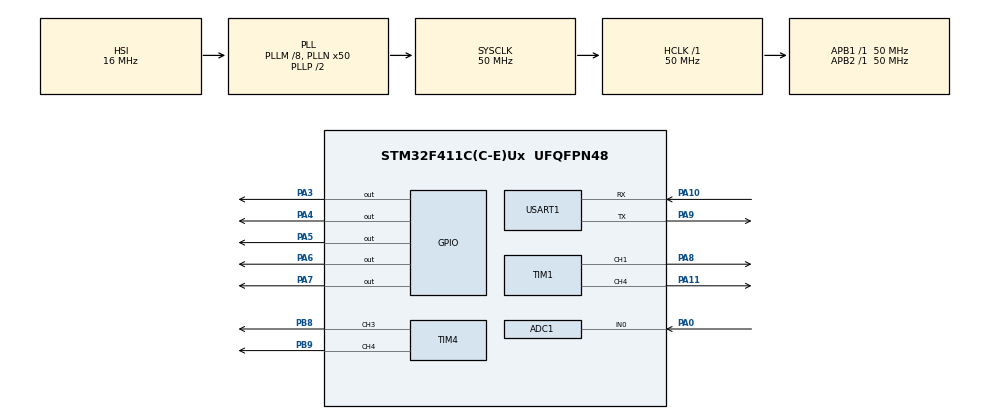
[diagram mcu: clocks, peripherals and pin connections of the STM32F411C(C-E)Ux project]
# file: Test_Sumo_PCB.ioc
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ADC1.Channel-0\#ChannelRegularConversion=ADC_CHANNEL_0
ADC1.NbrOfConversionFlag=1
ADC1.Rank-0\#ChannelRegularConversion=1
ADC1.SamplingTime-0\#ChannelRegularConversion=ADC_SAMPLETIME_3CYCLES
ADC1.master=1
Mcu.Family=STM32F4
Mcu.Name=STM32F411C(C-E)Ux
Mcu.Package=UFQFPN48
NVIC.PriorityGroup=NVIC_PRIORITYGROUP_4
PA0-WKUP.Signal=ADCx_IN0
PA10.Mode=Asynchronous
PA10.Signal=USART1_RX
PA11.Signal=S_TIM1_CH4
PA3.Signal=GPIO_Output
PA4.Signal=GPIO_Output
PA5.Signal=GPIO_Output
PA6.Signal=GPIO_Output
PA7.Signal=GPIO_Output
PA8.Signal=S_TIM1_CH1
PA9.Mode=Asynchronous
PA9.Signal=USART1_TX
PB8.Signal=S_TIM4_CH3
PB9.Signal=S_TIM4_CH4
ProjectManager.HeapSize=0x200
ProjectManager.StackSize=0x400
ProjectManager.TargetToolchain=STM32CubeIDE
RCC.48MHZClocksFreq_Value=25000000
RCC.AHBFreq_Value=50000000
RCC.APB1Freq_Value=50000000
RCC.APB1TimFreq_Value=50000000
RCC.APB2Freq_Value=50000000
RCC.APB2TimFreq_Value=50000000
RCC.CortexFreq_Value=50000000
RCC.HCLKFreq_Value=50000000
RCC.HSE_VALUE=25000000
RCC.HSI_VALUE=16000000
RCC.LSE_VALUE=32768
RCC.PLLM=8
RCC.PLLN=50
RCC.SYSCLKFreq_VALUE=50000000
RCC.SYSCLKSource=RCC_SYSCLKSOURCE_PLLCLK
RCC.VCOOutputFreq_Value=100000000
SH.ADCx_IN0.0=ADC1_IN0,IN0
SH.S_TIM1_CH1.0=TIM1_CH1,PWM Generation1 CH1
SH.S_TIM1_CH4.0=TIM1_CH4,PWM Generation4 CH4
SH.S_TIM4_CH3.0=TIM4_CH3,PWM Generation3 CH3
SH.S_TIM4_CH4.0=TIM4_CH4,PWM Generation4 CH4
TIM1.Channel-PWM\ Generation1\ CH1=TIM_CHANNEL_1
TIM1.Channel-PWM\ Generation4\ CH4=TIM_CHANNEL_4
TIM4.Channel-PWM\ Generation3\ CH3=TIM_CHANNEL_3
TIM4.Channel-PWM\ Generation4\ CH4=TIM_CHANNEL_4
USART1.VirtualMode=VM_ASYNC
board=custom

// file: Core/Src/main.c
/* USER CODE BEGIN Header */
/**
  ******************************************************************************
  * @file           : main.c
  * @brief          : Main program body
  ******************************************************************************
  * @attention
  *
  * Copyright (c) 2022 STMicroelectronics.
  * All rights reserved.
  *
  * This software is licensed under terms that can be found in the LICENSE file
  * in the root directory of this software component.
  * If no LICENSE file comes with this software, it is provided AS-IS.
  *
  ******************************************************************************
  */
/* USER CODE END Header */
#include "main.h"

/* USER CODE BEGIN Includes */
#include "string.h"
#include "Motor_Driverz.h"

/* USER CODE END Includes */

 ADC_HandleTypeDef hadc1;

TIM_HandleTypeDef htim1;
TIM_HandleTypeDef htim4;

UART_HandleTypeDef huart1;

void SystemClock_Config(void);
static void MX_GPIO_Init(void);
static void MX_ADC1_Init(void);
static void MX_USART1_UART_Init(void);
static void MX_TIM1_Init(void);
static void MX_TIM4_Init(void);

int main(void)
{
  /* USER CODE BEGIN 1 */
	uint8_t buff[24];
	HAL_StatusTypeDef ret;
	Motor_t lb;
	Motor_t rf;
	Motor_t rb;
	Motor_t lf;

  /* USER CODE END 1 */

  /* MCU Configuration--------------------------------------------------------*/

  /* Reset of all peripherals, Initializes the Flash interface and the Systick. */
  HAL_Init();

  /* Configure the system clock */
  SystemClock_Config();

  /* Initialize all configured peripherals */
  MX_GPIO_Init();
  MX_ADC1_Init();
  MX_USART1_UART_Init();
  MX_TIM1_Init();
  MX_TIM4_Init();
  /* USER CODE BEGIN 2 */
  lb.IN_pin = TIM_CHANNEL_1;
  lb.htim = &htim1;
  lb.EN_GPIO = GPIOA;
  lb.EN_pin = GPIO_PIN_3;
  lb.nSleepGPIO = GPIOA;
  lb.nSleep = GPIO_PIN_5;
  lb.fwd = 0;
  lb.rev = 1;

  lf.IN_pin = TIM_CHANNEL_4;
  lf.htim = &htim4;
  lf.EN_GPIO = GPIOA;
  lf.EN_pin = GPIO_PIN_7;
  lf.nSleepGPIO = GPIOA;
  lf.nSleep = GPIO_PIN_5;
  lf.fwd = 0;
  lf.rev = 1;

  rf.IN_pin = TIM_CHANNEL_4;
  rf.htim = &htim1;
  rf.EN_GPIO = GPIOA;
  rf.EN_pin = GPIO_PIN_4;
  rf.nSleepGPIO = GPIOA;
  rf.nSleep = GPIO_PIN_5;
  rf.fwd = 1;
  rf.rev = 0;

  rb.IN_pin = TIM_CHANNEL_3;
  rb.htim = &htim4;
  rb.EN_GPIO = GPIOA;
  rb.EN_pin = GPIO_PIN_6;
  rb.nSleepGPIO = GPIOA;
  rb.nSleep = GPIO_PIN_5;
  rb.fwd = 1;
  rb.rev = 0;
  //HAL_GPIO_WritePin(GPIOA, GPIO_PIN_3, GPIO_PIN_SET);
  //HAL_TIM_PWM_Start(&htim1, TIM_CHANNEL_1);

  //HAL_GPIO_WritePin(GPIOA, GPIO_PIN_4, GPIO_PIN_SET);
  //HAL_TIM_PWM_Start(&htim1, TIM_CHANNEL_4);

  //HAL_GPIO_WritePin(GPIOA, GPIO_PIN_6, GPIO_PIN_SET);
  //HAL_TIM_PWM_Start(&htim4, TIM_CHANNEL_3);

  //HAL_GPIO_WritePin(GPIOA, GPIO_PIN_7, GPIO_PIN_SET);
  //HAL_TIM_PWM_Start(&htim4, TIM_CHANNEL_4);

  //HAL_GPIO_WritePin(GPIOA, GPIO_PIN_5, GPIO_PIN_SET);
  /* USER CODE END 2 */

  /* Infinite loop */
  /* USER CODE BEGIN WHILE */
  while (1)
  {
	  //__HAL_TIM_SET_COMPARE(&htim1, TIM_CHANNEL_1, 65534);
	  //__HAL_TIM_SET_COMPARE(&htim1, TIM_CHANNEL_4, 65534);
	  //__HAL_TIM_SET_COMPARE(&htim4, TIM_CHANNEL_3, 65534);
	  //__HAL_TIM_SET_COMPARE(&htim4, TIM_CHANNEL_4, 65534);
	  set_level(&lb, 65534);
	  enable(&lb);
	  set_level(&rf, 65534);
	  enable(&rf);
	  set_level(&rb, 65534);
	  enable(&rb);
	  set_level(&lf, 65534);
	  enable(&lf);

	  HAL_ADC_Start(&hadc1);
	  HAL_ADC_PollForConversion(&hadc1, HAL_MAX_DELAY);
	  uint16_t val = HAL_ADC_GetValue(&hadc1);
	  sprintf((char*)buff,"Voltage reading at %d\n\r", val);
	  ret = HAL_UART_Transmit(&huart1, buff, strlen((char*)buff), HAL_MAX_DELAY);
	  HAL_Delay(100);

	  if (val < 3005){

		  //HAL_GPIO_WritePin(GPIOA, GPIO_PIN_5, GPIO_PIN_RESET);
		 disable(&lb);

	  }

    /* USER CODE END WHILE */

  }
}

void SystemClock_Config(void)
{
  RCC_OscInitTypeDef RCC_OscInitStruct = {0};
  RCC_ClkInitTypeDef RCC_ClkInitStruct = {0};

  /** Configure the main internal regulator output voltage
  */
  __HAL_RCC_PWR_CLK_ENABLE();
  __HAL_PWR_VOLTAGESCALING_CONFIG(PWR_REGULATOR_VOLTAGE_SCALE1);

  /** Initializes the RCC Oscillators according to the specified parameters
  * in the RCC_OscInitTypeDef structure.
  */
  RCC_OscInitStruct.OscillatorType = RCC_OSCILLATORTYPE_HSI;
  RCC_OscInitStruct.HSIState = RCC_HSI_ON;
  RCC_OscInitStruct.HSICalibrationValue = RCC_HSICALIBRATION_DEFAULT;
  RCC_OscInitStruct.PLL.PLLState = RCC_PLL_ON;
  RCC_OscInitStruct.PLL.PLLSource = RCC_PLLSOURCE_HSI;
  RCC_OscInitStruct.PLL.PLLM = 8;
  RCC_OscInitStruct.PLL.PLLN = 50;
  RCC_OscInitStruct.PLL.PLLP = RCC_PLLP_DIV2;
  RCC_OscInitStruct.PLL.PLLQ = 4;
  if (HAL_RCC_OscConfig(&RCC_OscInitStruct) != HAL_OK)
  {
    Error_Handler();
  }

  /** Initializes the CPU, AHB and APB buses clocks
  */
  RCC_ClkInitStruct.ClockType = RCC_CLOCKTYPE_HCLK|RCC_CLOCKTYPE_SYSCLK
                              |RCC_CLOCKTYPE_PCLK1|RCC_CLOCKTYPE_PCLK2;
  RCC_ClkInitStruct.SYSCLKSource = RCC_SYSCLKSOURCE_PLLCLK;
  RCC_ClkInitStruct.AHBCLKDivider = RCC_SYSCLK_DIV1;
  RCC_ClkInitStruct.APB1CLKDivider = RCC_HCLK_DIV1;
  RCC_ClkInitStruct.APB2CLKDivider = RCC_HCLK_DIV1;

  if (HAL_RCC_ClockConfig(&RCC_ClkInitStruct, FLASH_LATENCY_1) != HAL_OK)
  {
    Error_Handler();
  }
}

static void MX_ADC1_Init(void)
{

  ADC_ChannelConfTypeDef sConfig = {0};

  /** Configure the global features of the ADC (Clock, Resolution, Data Alignment and number of conversion)
  */
  hadc1.Instance = ADC1;
  hadc1.Init.ClockPrescaler = ADC_CLOCK_SYNC_PCLK_DIV2;
  hadc1.Init.Resolution = ADC_RESOLUTION_12B;
  hadc1.Init.ScanConvMode = DISABLE;
  hadc1.Init.ContinuousConvMode = DISABLE;
  hadc1.Init.DiscontinuousConvMode = DISABLE;
  hadc1.Init.ExternalTrigConvEdge = ADC_EXTERNALTRIGCONVEDGE_NONE;
  hadc1.Init.ExternalTrigConv = ADC_SOFTWARE_START;
  hadc1.Init.DataAlign = ADC_DATAALIGN_RIGHT;
  hadc1.Init.NbrOfConversion = 1;
  hadc1.Init.DMAContinuousRequests = DISABLE;
  hadc1.Init.EOCSelection = ADC_EOC_SINGLE_CONV;
  if (HAL_ADC_Init(&hadc1) != HAL_OK)
  {
    Error_Handler();
  }

  /** Configure for the selected ADC regular channel its corresponding rank in the sequencer and its sample time.
  */
  sConfig.Channel = ADC_CHANNEL_0;
  sConfig.Rank = 1;
  sConfig.SamplingTime = ADC_SAMPLETIME_3CYCLES;
  if (HAL_ADC_ConfigChannel(&hadc1, &sConfig) != HAL_OK)
  {
    Error_Handler();
  }

}

static void MX_TIM1_Init(void)
{

  TIM_MasterConfigTypeDef sMasterConfig = {0};
  TIM_OC_InitTypeDef sConfigOC = {0};
  TIM_BreakDeadTimeConfigTypeDef sBreakDeadTimeConfig = {0};

  htim1.Instance = TIM1;
  htim1.Init.Prescaler = 0;
  htim1.Init.CounterMode = TIM_COUNTERMODE_UP;
  htim1.Init.Period = 65535;
  htim1.Init.ClockDivision = TIM_CLOCKDIVISION_DIV1;
  htim1.Init.RepetitionCounter = 0;
  htim1.Init.AutoReloadPreload = TIM_AUTORELOAD_PRELOAD_DISABLE;
  if (HAL_TIM_PWM_Init(&htim1) != HAL_OK)
  {
    Error_Handler();
  }
  sMasterConfig.MasterOutputTrigger = TIM_TRGO_RESET;
  sMasterConfig.MasterSlaveMode = TIM_MASTERSLAVEMODE_DISABLE;
  if (HAL_TIMEx_MasterConfigSynchronization(&htim1, &sMasterConfig) != HAL_OK)
  {
    Error_Handler();
  }
  sConfigOC.OCMode = TIM_OCMODE_PWM1;
  sConfigOC.Pulse = 0;
  sConfigOC.OCPolarity = TIM_OCPOLARITY_HIGH;
  sConfigOC.OCNPolarity = TIM_OCNPOLARITY_HIGH;
  sConfigOC.OCFastMode = TIM_OCFAST_DISABLE;
  sConfigOC.OCIdleState = TIM_OCIDLESTATE_RESET;
  sConfigOC.OCNIdleState = TIM_OCNIDLESTATE_RESET;
  if (HAL_TIM_PWM_ConfigChannel(&htim1, &sConfigOC, TIM_CHANNEL_1) != HAL_OK)
  {
    Error_Handler();
  }
  if (HAL_TIM_PWM_ConfigChannel(&htim1, &sConfigOC, TIM_CHANNEL_4) != HAL_OK)
  {
    Error_Handler();
  }
  sBreakDeadTimeConfig.OffStateRunMode = TIM_OSSR_DISABLE;
  sBreakDeadTimeConfig.OffStateIDLEMode = TIM_OSSI_DISABLE;
  sBreakDeadTimeConfig.LockLevel = TIM_LOCKLEVEL_OFF;
  sBreakDeadTimeConfig.DeadTime = 0;
  sBreakDeadTimeConfig.BreakState = TIM_BREAK_DISABLE;
  sBreakDeadTimeConfig.BreakPolarity = TIM_BREAKPOLARITY_HIGH;
  sBreakDeadTimeConfig.AutomaticOutput = TIM_AUTOMATICOUTPUT_DISABLE;
  if (HAL_TIMEx_ConfigBreakDeadTime(&htim1, &sBreakDeadTimeConfig) != HAL_OK)
  {
    Error_Handler();
  }
  HAL_TIM_MspPostInit(&htim1);

}

static void MX_TIM4_Init(void)
{

  TIM_MasterConfigTypeDef sMasterConfig = {0};
  TIM_OC_InitTypeDef sConfigOC = {0};

  htim4.Instance = TIM4;
  htim4.Init.Prescaler = 0;
  htim4.Init.CounterMode = TIM_COUNTERMODE_UP;
  htim4.Init.Period = 65535;
  htim4.Init.ClockDivision = TIM_CLOCKDIVISION_DIV1;
  htim4.Init.AutoReloadPreload = TIM_AUTORELOAD_PRELOAD_DISABLE;
  if (HAL_TIM_PWM_Init(&htim4) != HAL_OK)
  {
    Error_Handler();
  }
  sMasterConfig.MasterOutputTrigger = TIM_TRGO_RESET;
  sMasterConfig.MasterSlaveMode = TIM_MASTERSLAVEMODE_DISABLE;
  if (HAL_TIMEx_MasterConfigSynchronization(&htim4, &sMasterConfig) != HAL_OK)
  {
    Error_Handler();
  }
  sConfigOC.OCMode = TIM_OCMODE_PWM1;
  sConfigOC.Pulse = 0;
  sConfigOC.OCPolarity = TIM_OCPOLARITY_HIGH;
  sConfigOC.OCFastMode = TIM_OCFAST_DISABLE;
  if (HAL_TIM_PWM_ConfigChannel(&htim4, &sConfigOC, TIM_CHANNEL_3) != HAL_OK)
  {
    Error_Handler();
  }
  if (HAL_TIM_PWM_ConfigChannel(&htim4, &sConfigOC, TIM_CHANNEL_4) != HAL_OK)
  {
    Error_Handler();
  }
  HAL_TIM_MspPostInit(&htim4);

}

static void MX_USART1_UART_Init(void)
{

  huart1.Instance = USART1;
  huart1.Init.BaudRate = 115200;
  huart1.Init.WordLength = UART_WORDLENGTH_8B;
  huart1.Init.StopBits = UART_STOPBITS_1;
  huart1.Init.Parity = UART_PARITY_NONE;
  huart1.Init.Mode = UART_MODE_TX_RX;
  huart1.Init.HwFlowCtl = UART_HWCONTROL_NONE;
  huart1.Init.OverSampling = UART_OVERSAMPLING_16;
  if (HAL_UART_Init(&huart1) != HAL_OK)
  {
    Error_Handler();
  }

}

static void MX_GPIO_Init(void)
{
  GPIO_InitTypeDef GPIO_InitStruct = {0};

  /* GPIO Ports Clock Enable */
  __HAL_RCC_GPIOA_CLK_ENABLE();
  __HAL_RCC_GPIOB_CLK_ENABLE();

  /*Configure GPIO pin Output Level */
  HAL_GPIO_WritePin(GPIOA, GPIO_PIN_3|GPIO_PIN_4|GPIO_PIN_5|GPIO_PIN_6
                          |GPIO_PIN_7, GPIO_PIN_RESET);

  /*Configure GPIO pins : PA3 PA4 PA5 PA6
                           PA7 */
  GPIO_InitStruct.Pin = GPIO_PIN_3|GPIO_PIN_4|GPIO_PIN_5|GPIO_PIN_6
                          |GPIO_PIN_7;
  GPIO_InitStruct.Mode = GPIO_MODE_OUTPUT_PP;
  GPIO_InitStruct.Pull = GPIO_NOPULL;
  GPIO_InitStruct.Speed = GPIO_SPEED_FREQ_LOW;
  HAL_GPIO_Init(GPIOA, &GPIO_InitStruct);

}

void Error_Handler(void)
{
  __disable_irq();
  while (1)
  {
  }
}
